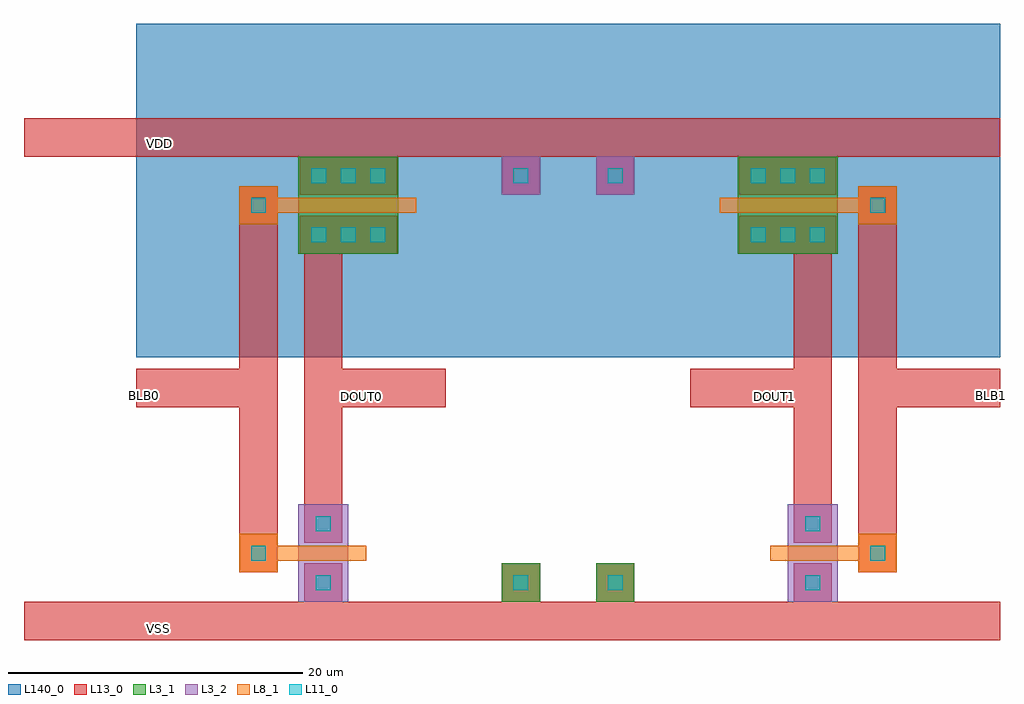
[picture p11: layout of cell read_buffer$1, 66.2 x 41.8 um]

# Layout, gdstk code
from math import pi, radians
import gdstk
lib = gdstk.Library(unit=1e-6, precision=1e-07)
def R(c, l, rs):  # rectangles x0, y0, x1, y1
    for r in rs: c.add(gdstk.rectangle(r[:2], r[2:], *l))
def A(c, l, x, y, w, h, nx, ny, dx, dy):  # array of equal rectangles
    R(c, l, [(x+i*dx, y+j*dy, x+i*dx+w, y+j*dy+h) for i in range(nx) for j in range(ny)])
L3_1 = (3, 1)
L3_2 = (3, 2)
L8_1 = (8, 1)
L11_0 = (11, 0)
L13_0 = (13, 0)
L140_0 = (140, 0)

fet_n_3_1 = lib.new_cell('fet_n$3$1')
R(fet_n_3_1, L3_2, [(-3.3,-1.7,3.3,1.7)])
R(fet_n_3_1, L11_0, [(-2.5,-0.5,-1.5,0.5), (1.5,-0.5,2.5,0.5)])
R(fet_n_3_1, L13_0, [(-3.3,-1.3,-0.7,1.3), (0.7,-1.3,3.3,1.3)])
fet_n_3_1.add(gdstk.FlexPath([(0,-2.9),(0,2.9)], 1, ends="flush", simple_path=True, layer=8, datatype=1))  # L8_1

fet_p_2_1 = lib.new_cell('fet_p$2$1')
R(fet_p_2_1, L3_1, [(-3.3,-3.4,3.3,3.4)])
A(fet_p_2_1, L11_0, -2.5, -2.5, 1, 1, 1, 3, 0, 2)
A(fet_p_2_1, L11_0, 1.5, -2.5, 1, 1, 1, 3, 0, 2)
R(fet_p_2_1, L13_0, [(-3.3,-3.3,-0.7,3.3), (0.7,-3.3,3.3,3.3)])
fet_p_2_1.add(gdstk.FlexPath([(0,-4.6),(0,4.6)], 1, ends="flush", simple_path=True, layer=8, datatype=1))  # L8_1

cont_g_2_1 = lib.new_cell('cont_g$2$1')
R(cont_g_2_1, L8_1, [(-1.3,-1.3,1.3,1.3)])
R(cont_g_2_1, L11_0, [(-0.5,-0.5,0.5,0.5)])
R(cont_g_2_1, L13_0, [(-1.3,-1.3,1.3,1.3)])

cont_n_2_1 = lib.new_cell('cont_n$2$1')
R(cont_n_2_1, L3_2, [(-1.3,-1.3,1.3,1.3)])
R(cont_n_2_1, L11_0, [(-0.5,-0.5,0.5,0.5)])
R(cont_n_2_1, L13_0, [(-1.3,-1.3,1.3,1.3)])

cont_p_2_1 = lib.new_cell('cont_p$2$1')
R(cont_p_2_1, L3_1, [(-1.3,-1.3,1.3,1.3)])
R(cont_p_2_1, L11_0, [(-0.5,-0.5,0.5,0.5)])
R(cont_p_2_1, L13_0, [(-1.3,-1.3,1.3,1.3)])

read_buffer_1 = lib.new_cell('read_buffer$1')
R(read_buffer_1, L8_1, [(2,0.8,2.2,1.8), (41.2,0.8,41.4,1.8), (2,24.4,2.2,25.4), (41.2,24.4,41.4,25.4)])
R(read_buffer_1, L13_0, [(-15.2,-4.6,51,-2), (-0.6,0,2,26.2), (41.4,0,44,26.2), (3.8,4.6,6.4,21.6), (37,4.6,39.6,21.6), (-7.6,11.2,-0.6,13.8), (6.4,11.2,13.4,13.8), (30,11.2,37,13.8), (44,11.2,51,13.8), (-15.2,28.2,51,30.8)])
R(read_buffer_1, L140_0, [(-7.6,14.6,17.2,37.2), (17.2,14.6,26.2,37.2), (26.2,14.6,51,37.2)])
read_buffer_1.add(gdstk.Reference(fet_n_3_1, (5.1,1.3), rotation=3*pi/2, x_reflection=True))
read_buffer_1.add(gdstk.Reference(fet_p_2_1, (6.8,24.9), rotation=3*pi/2, x_reflection=True))
read_buffer_1.add(gdstk.Reference(cont_g_2_1, (0.7,24.9), rotation=3*pi/2, x_reflection=True))
read_buffer_1.add(gdstk.Reference(cont_g_2_1, (0.7,1.3), rotation=3*pi/2, x_reflection=True))
read_buffer_1.add(gdstk.Reference(cont_n_2_1, (18.5,26.9), rotation=3*pi/2, x_reflection=True))
read_buffer_1.add(gdstk.Reference(fet_n_3_1, (38.3,1.3), rotation=3*pi/2))
read_buffer_1.add(gdstk.Reference(fet_p_2_1, (36.6,24.9), rotation=3*pi/2))
read_buffer_1.add(gdstk.Reference(cont_g_2_1, (42.7,24.9), rotation=3*pi/2))
read_buffer_1.add(gdstk.Reference(cont_g_2_1, (42.7,1.3), rotation=3*pi/2))
read_buffer_1.add(gdstk.Reference(cont_n_2_1, (24.9,26.9), rotation=3*pi/2, x_reflection=True))
read_buffer_1.add(gdstk.Reference(cont_p_2_1, (18.5,-0.7), rotation=3*pi/2, x_reflection=True))
read_buffer_1.add(gdstk.Reference(cont_p_2_1, (24.9,-0.7), rotation=3*pi/2, x_reflection=True))
read_buffer_1.add(gdstk.Label('BLB0', (-7,12), layer=48, texttype=0))
read_buffer_1.add(gdstk.Label('DOUT0', (7.7,11.9), layer=48, texttype=0))
read_buffer_1.add(gdstk.Label('VSS', (-6.1,-3.8), layer=48, texttype=0))
read_buffer_1.add(gdstk.Label('VDD', (-6,29.1), layer=48, texttype=0))
read_buffer_1.add(gdstk.Label('BLB1', (50.4,12), layer=48, texttype=0))
read_buffer_1.add(gdstk.Label('DOUT1', (35.7,11.9), layer=48, texttype=0))

lib.write_gds('read_buffer_1.gds')
